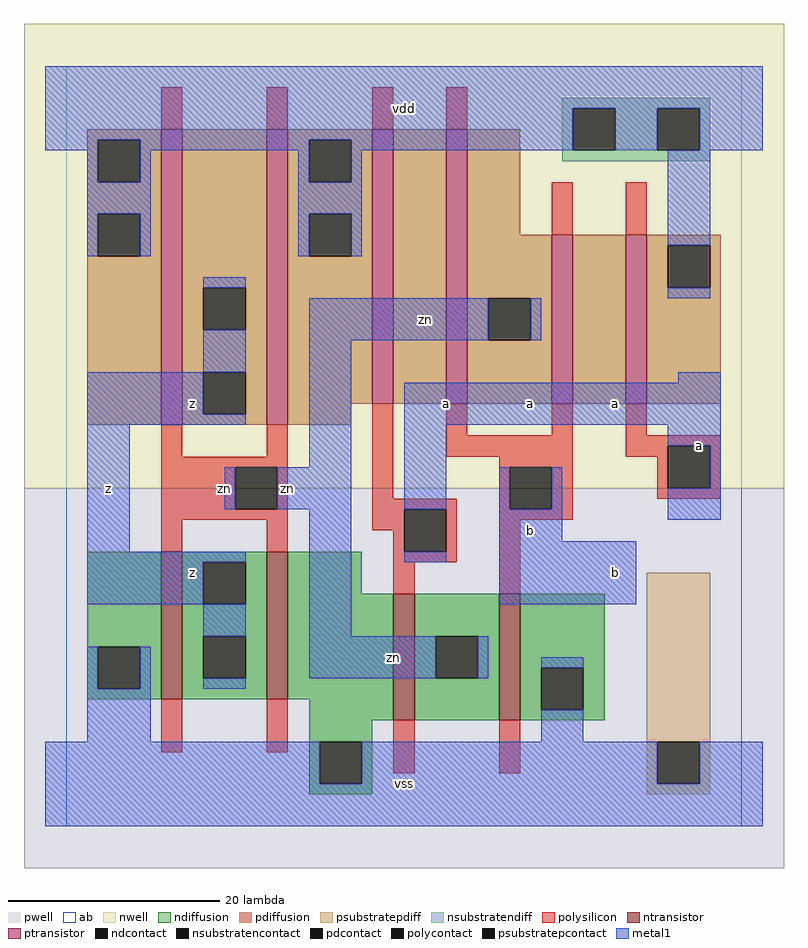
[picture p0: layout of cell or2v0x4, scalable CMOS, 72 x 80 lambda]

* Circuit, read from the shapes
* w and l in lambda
.subckt or2v0x4 a b vdd vss z zn
M1 z zn vss vss nfet w=14 l=2 m=2
M2 zn a vss vss nfet w=12 l=2
M3 vss b zn vss nfet w=12 l=2
M4 z zn vdd vdd pfet w=28 l=2 m=2
M5 n1 a vdd vdd pfet w=26 l=2
M6 zn b n1 vdd pfet w=26 l=2
M7 n2 b zn vdd pfet w=16 l=2
M8 vdd a n2 vdd pfet w=16 l=2
.ends

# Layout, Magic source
magic
tech scmos
<< ab >>
rect 0 0 64 72
<< pwell >>
rect -4 -4 68 32
<< nwell >>
rect -4 32 68 76
<< polysilicon >>
rect 9 66 11 70
rect 19 66 21 70
rect 29 66 31 70
rect 36 66 38 70
rect 46 56 48 61
rect 53 56 55 61
rect 9 35 11 38
rect 19 35 21 38
rect 9 34 21 35
rect 9 30 16 34
rect 20 30 21 34
rect 9 29 21 30
rect 9 26 11 29
rect 19 26 21 29
rect 29 31 31 40
rect 36 37 38 40
rect 46 37 48 40
rect 36 35 48 37
rect 53 37 55 40
rect 53 36 62 37
rect 53 35 57 36
rect 41 34 48 35
rect 29 30 37 31
rect 29 28 32 30
rect 31 26 32 28
rect 36 26 37 30
rect 31 25 37 26
rect 41 30 42 34
rect 46 30 48 34
rect 56 32 57 35
rect 61 32 62 36
rect 56 31 62 32
rect 41 29 48 30
rect 31 22 33 25
rect 41 22 43 29
rect 9 7 11 12
rect 19 7 21 12
rect 31 5 33 10
rect 41 5 43 10
<< ndiffusion >>
rect 2 17 9 26
rect 2 13 3 17
rect 7 13 9 17
rect 2 12 9 13
rect 11 25 19 26
rect 11 21 13 25
rect 17 21 19 25
rect 11 18 19 21
rect 11 14 13 18
rect 17 14 19 18
rect 11 12 19 14
rect 21 22 28 26
rect 21 12 31 22
rect 23 10 31 12
rect 33 18 41 22
rect 33 14 35 18
rect 39 14 41 18
rect 33 10 41 14
rect 43 15 51 22
rect 43 11 45 15
rect 49 11 51 15
rect 43 10 51 11
rect 23 8 29 10
rect 23 4 24 8
rect 28 4 29 8
rect 23 3 29 4
<< pdiffusion >>
rect 2 65 9 66
rect 2 61 3 65
rect 7 61 9 65
rect 2 58 9 61
rect 2 54 3 58
rect 7 54 9 58
rect 2 38 9 54
rect 11 51 19 66
rect 11 47 13 51
rect 17 47 19 51
rect 11 43 19 47
rect 11 39 13 43
rect 17 39 19 43
rect 11 38 19 39
rect 21 65 29 66
rect 21 61 23 65
rect 27 61 29 65
rect 21 58 29 61
rect 21 54 23 58
rect 27 54 29 58
rect 21 40 29 54
rect 31 40 36 66
rect 38 56 43 66
rect 38 50 46 56
rect 38 46 40 50
rect 44 46 46 50
rect 38 40 46 46
rect 48 40 53 56
rect 55 55 62 56
rect 55 51 57 55
rect 61 51 62 55
rect 55 40 62 51
rect 21 38 27 40
<< metal1 >>
rect -2 68 66 72
rect -2 65 48 68
rect -2 64 3 65
rect 2 61 3 64
rect 7 64 23 65
rect 7 61 8 64
rect 2 58 8 61
rect 2 54 3 58
rect 7 54 8 58
rect 22 61 23 64
rect 27 64 48 65
rect 52 64 56 68
rect 60 64 66 68
rect 27 61 28 64
rect 22 58 28 61
rect 22 54 23 58
rect 27 54 28 58
rect 57 55 61 64
rect 13 51 17 52
rect 57 50 61 51
rect 13 43 17 47
rect 2 39 13 43
rect 2 38 17 39
rect 23 46 40 50
rect 44 46 45 50
rect 2 26 6 38
rect 23 34 27 46
rect 58 42 62 43
rect 15 30 16 34
rect 20 30 27 34
rect 2 25 17 26
rect 2 21 13 25
rect 13 18 17 21
rect 2 13 3 17
rect 7 13 8 17
rect 23 18 27 30
rect 32 38 62 42
rect 32 30 36 38
rect 57 36 62 38
rect 32 25 36 26
rect 41 30 42 34
rect 46 30 47 34
rect 41 27 47 30
rect 61 32 62 36
rect 57 29 62 32
rect 41 21 54 27
rect 23 14 35 18
rect 39 14 40 18
rect 45 15 49 16
rect 13 13 17 14
rect 2 8 8 13
rect 45 8 49 11
rect -2 4 24 8
rect 28 4 56 8
rect 60 4 66 8
rect -2 0 66 4
<< ntransistor >>
rect 9 12 11 26
rect 19 12 21 26
rect 31 10 33 22
rect 41 10 43 22
<< ptransistor >>
rect 9 38 11 66
rect 19 38 21 66
rect 29 40 31 66
rect 36 40 38 66
rect 46 40 48 56
rect 53 40 55 56
<< polycontact >>
rect 16 30 20 34
rect 32 26 36 30
rect 42 30 46 34
rect 57 32 61 36
<< ndcontact >>
rect 3 13 7 17
rect 13 21 17 25
rect 13 14 17 18
rect 35 14 39 18
rect 45 11 49 15
rect 24 4 28 8
<< pdcontact >>
rect 3 61 7 65
rect 3 54 7 58
rect 13 47 17 51
rect 13 39 17 43
rect 23 61 27 65
rect 23 54 27 58
rect 40 46 44 50
rect 57 51 61 55
<< psubstratepcontact >>
rect 56 4 60 8
<< nsubstratencontact >>
rect 48 64 52 68
rect 56 64 60 68
<< psubstratepdiff >>
rect 55 8 61 24
rect 55 4 56 8
rect 60 4 61 8
rect 55 3 61 4
<< nsubstratendiff >>
rect 47 68 61 69
rect 47 64 48 68
rect 52 64 56 68
rect 60 64 61 68
rect 47 63 61 64
<< labels >>
rlabel polysilicon 15 32 15 32 6 zn
rlabel metal1 4 32 4 32 6 z
rlabel metal1 12 24 12 24 6 z
rlabel metal1 12 40 12 40 6 z
rlabel metal1 21 32 21 32 6 zn
rlabel metal1 32 4 32 4 6 vss
rlabel metal1 31 16 31 16 6 zn
rlabel metal1 44 28 44 28 6 b
rlabel metal1 44 40 44 40 6 a
rlabel metal1 36 40 36 40 6 a
rlabel metal1 34 48 34 48 6 zn
rlabel metal1 32 68 32 68 6 vdd
rlabel metal1 52 24 52 24 6 b
rlabel metal1 60 36 60 36 6 a
rlabel metal1 52 40 52 40 6 a
<< end >>
